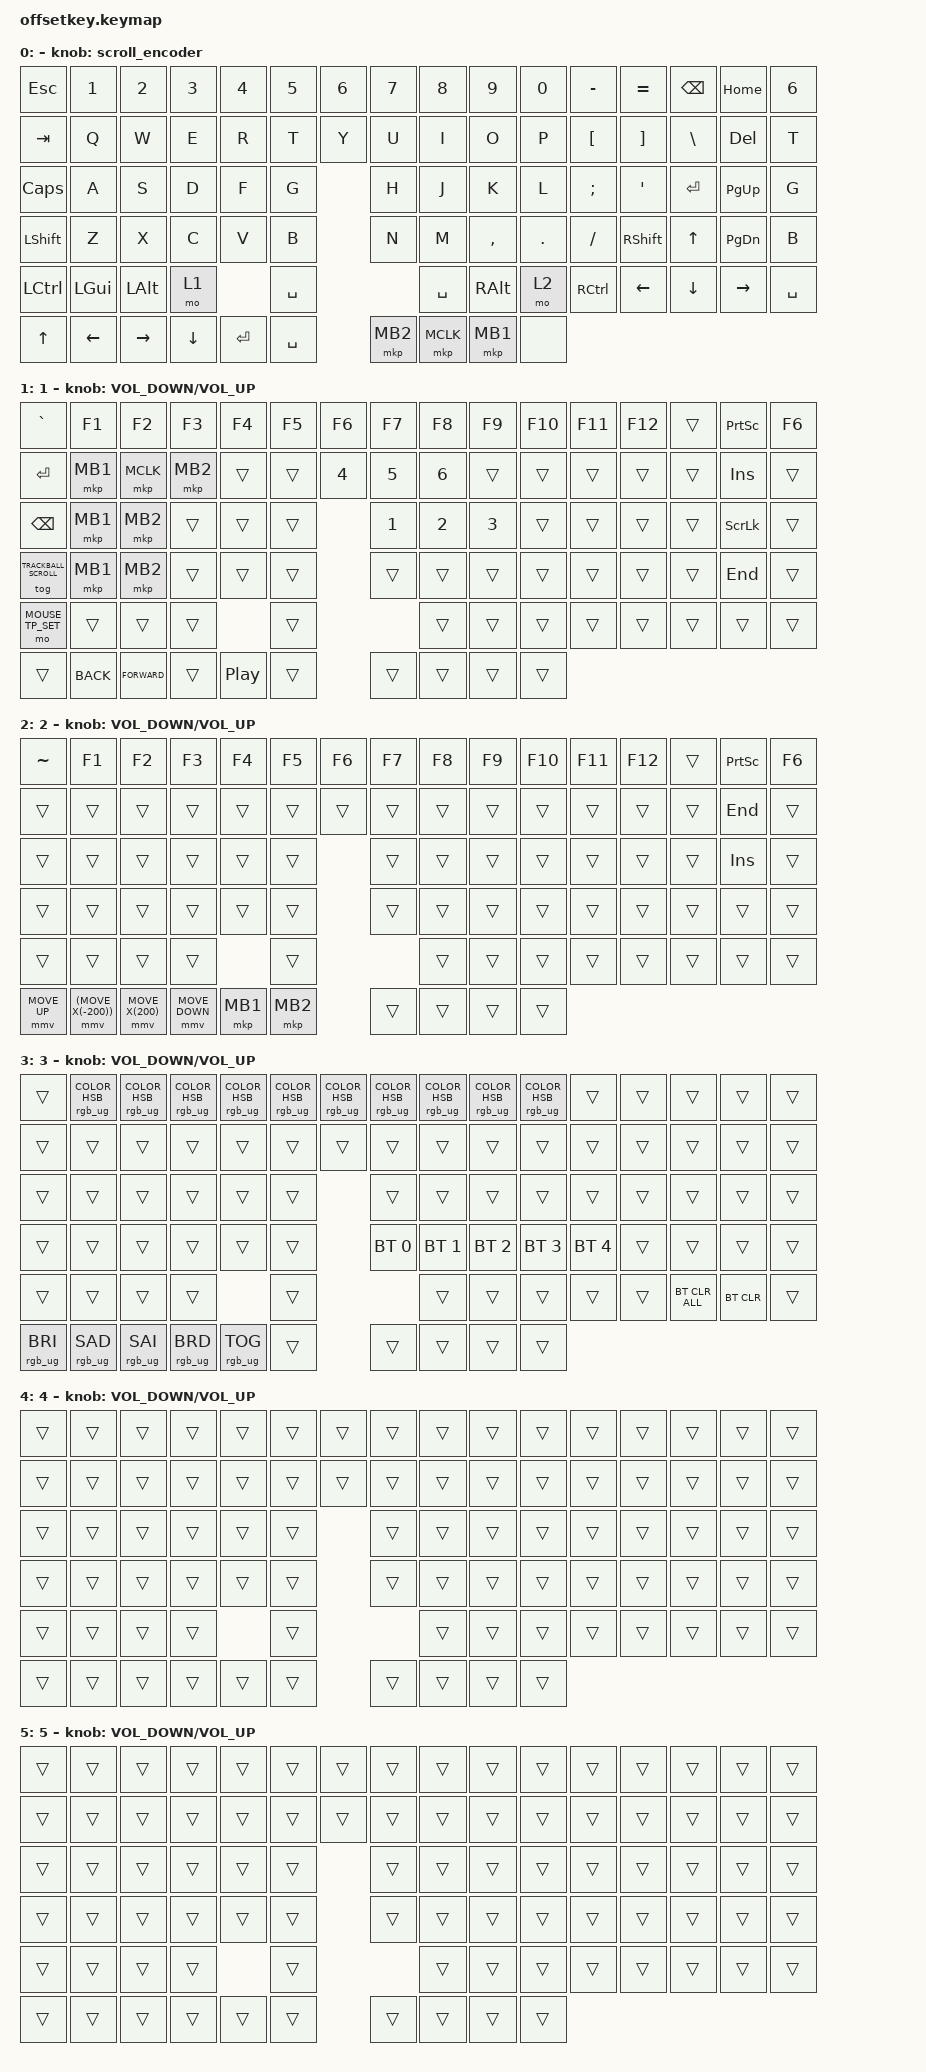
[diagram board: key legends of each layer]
#define ZMK_POINTING_DEFAULT_MOVE_VAL 1200  // 600
#define ZMK_POINTING_DEFAULT_SCRL_VAL 20    // 10
#define BASE 0
#define LOWER 1
#define MOUSE_KEYS 2
#define MOUSE_TP 3
#define MOUSE_TP_SET 4
#define TRACKBALL_SCROLL 5

#include <input/processors.dtsi>
#include <zephyr/dt-bindings/input/input-event-codes.h>
#include <behaviors/toggle_io.dtsi>
#include <behaviors/on_io.dtsi>
#include <behaviors/off_io.dtsi>
#include <behaviors.dtsi>
#include <dt-bindings/zmk/bt.h>
#include <dt-bindings/zmk/keys.h>
#include <dt-bindings/zmk/pointing.h>
#include <dt-bindings/zmk/rgb.h>

&mmv_input_listener {
    input-processors = <&zip_xy_scaler 2 1>;

    trackball_scroller_rule {
        layers = <MOUSE_KEYS>;
        input-processors =
            <&zip_xy_transform 3>,
            <&zip_xy_scaler 1 60>,
            <&zip_xy_to_scroll_mapper>;
    };
};

&msc_input_listener { input-processors = <&zip_scroll_scaler 2 1>; };

&msc {
    acceleration-exponent = <0>;      // 0
    time-to-max-speed-ms = <0>;       // 300
    delay-ms = <0>;                   // 0
};

&mmv {
    time-to-max-speed-ms = <400>;
    acceleration-exponent = <1>;
};

/ {
    scroll_encoder: scroll_encoder {
        compatible = "zmk,behavior-sensor-rotate";
        #sensor-binding-cells = <0>;
        bindings = <&msc SCRL_UP>, <&msc SCRL_DOWN>;

        tap-ms = <100>;
    };

    behaviors {
        ltq: ltq {
            compatible = "zmk,behavior-hold-tap";
            label = "LTQ";
            bindings = <&mo>, <&kp>;

            #binding-cells = <2>;
            tapping-term-ms = <200>;
            quick-tap-ms = <180>;
        };

        trackball_scroll: trackball_scroll {
            compatible = "zmk,behavior-input-two-axis-scroller";
            #binding-cells = <0>;

            // Adjust sensitivity here if scrolling is too fast/slow

            input-processors = <&zip_xy_scaler 1 1>;
        };
    };

    combos {
        compatible = "zmk,combos";

        flash {
            bindings = <&bootloader>;
            key-positions = <0 11>;
        };

        rgb {
            bindings = <&tog 3>;
            key-positions = <69 65>;
        };
    };

    keymap {
        compatible = "zmk,keymap";

        BASE {
            bindings = <
&kp ESC       &kp N1          &kp N2           &kp N3          &kp N4     &kp N5     &kp N6      &kp N7    &kp N8     &kp N9         &kp N0   &kp MINUS  &kp EQUAL        &kp BSPC      &kp HOME                &kp NUMBER_6
&kp TAB       &kp Q           &kp W            &kp E           &kp R      &kp T                  &kp Y     &kp U      &kp I          &kp O    &kp P      &kp LBKT         &kp RBKT      &kp BSLH       &kp DEL  &kp T
&kp CAPS      &kp A           &kp S            &kp D           &kp F      &kp G                  &kp H     &kp J      &kp K          &kp L    &kp SEMI   &kp APOS         &kp ENTER     &kp PG_UP               &kp G
&kp LSHFT     &kp Z           &kp X            &kp C           &kp V      &kp B                  &kp N     &kp M      &kp COMMA      &kp DOT  &kp FSLH   &kp RIGHT_SHIFT  &kp UP_ARROW  &kp PAGE_DOWN           &kp B
&kp LCTRL     &kp LEFT_GUI    &kp LEFT_ALT     &mo 1                      &kp SPACE                        &kp SPACE  &kp RIGHT_ALT  &mo 2    &kp RCTRL  &kp LEFT         &kp DOWN      &kp RIGHT               &kp SPACE
&kp UP_ARROW  &kp LEFT_ARROW  &kp RIGHT_ARROW  &kp DOWN_ARROW  &kp ENTER  &kp SPACE              &mkp MB2  &mkp MCLK  &mkp MB1       &none
            >;

            label = " ";
            sensor-bindings = <&scroll_encoder>;
        };

        layer_1 {
            bindings = <
&kp GRAVE      &kp F1      &kp F2         &kp F3  &kp F4  &kp F5  &kp F6      &kp F7        &kp F8        &kp F9        &kp F10  &kp F11  &kp F12  &trans  &kp PRINTSCREEN              &kp F6
&kp ENTER      &mkp MB1    &mkp MCLK      &mkp MB2       &trans  &trans              &kp NUMBER_4  &kp NUMBER_5  &kp NUMBER_6  &trans   &trans   &trans   &trans  &trans           &kp INSERT  &trans
&kp BACKSPACE  &mkp MB1    &mkp MB2       &trans  &trans  &trans              &kp NUMBER_1  &kp NUMBER_2  &kp NUMBER_3  &trans   &trans   &trans   &trans  &kp SCROLLLOCK               &trans
&tog TRACKBALL_SCROLL  &mkp MB1    &mkp MB2       &trans  &trans  &trans              &trans        &trans        &trans        &trans   &trans   &trans   &trans  &kp END                      &trans
&mo MOUSE_TP_SET  &trans      &trans         &trans          &trans                            &trans        &trans        &trans   &trans   &trans   &trans  &trans                       &trans
&trans         &kp K_BACK  &kp K_FORWARD  &trans  &kp C_PLAY_PAUSE  &trans              &trans        &trans        &trans        &trans
            >;

            label = "1";
            sensor-bindings = <&inc_dec_kp C_VOLUME_DOWN C_VOLUME_UP>;
        };

        layer_2 {
            bindings = <
&kp TILDE     &kp F1               &kp F2            &kp F3          &kp F4    &kp F5    &kp F6      &kp F7        &kp F8        &kp F9        &kp F10       &kp F11       &kp F12  &trans          &kp PRINTSCREEN      &kp F6
&trans        &trans               &trans            &trans          &trans    &trans                &trans        &trans        &trans        &trans        &trans        &trans   &trans          &trans      &kp END  &trans
&trans        &trans               &trans            &trans          &trans    &trans                &trans        &trans        &trans        &trans        &trans        &trans   &trans          &kp INSERT           &trans
&trans        &trans               &trans            &trans          &trans    &trans                &trans        &trans        &trans        &trans        &trans        &trans   &trans          &trans               &trans
&trans        &trans               &trans            &trans                    &trans                              &trans        &trans        &trans        &trans        &trans   &trans        &trans            &trans
&mmv MOVE_UP  &mmv (MOVE_X(-200))  &mmv MOVE_X(200)  &mmv MOVE_DOWN  &mkp MB1  &mkp MB2              &trans        &trans        &trans        &trans
            >;

            label = "2";
            sensor-bindings = <&inc_dec_kp C_VOLUME_DOWN C_VOLUME_UP>;
        };

        layer_3 {
            bindings = <
&trans           &rgb_ug RGB_COLOR_HSB(0,100,30)  &rgb_ug RGB_COLOR_HSB(30,100,30)  &rgb_ug RGB_COLOR_HSB(60,100,30)  &rgb_ug RGB_COLOR_HSB(120,100,30)  &rgb_ug RGB_COLOR_HSB(180,100,30)  &rgb_ug RGB_COLOR_HSB(210,100,30)      &rgb_ug RGB_COLOR_HSB(240,100,30)  &rgb_ug RGB_COLOR_HSB(270,100,30)  &rgb_ug RGB_COLOR_HSB(300,100,30)  &rgb_ug RGB_COLOR_HSB(330,100,30)  &trans  &trans  &trans  &trans          &trans
&trans           &trans                           &trans                            &trans                            &trans                             &trans                                                                    &trans                             &trans                             &trans                             &trans                             &trans  &trans  &trans  &trans  &trans  &trans
&trans           &trans                           &trans                            &trans                            &trans                             &trans                                                                    &trans                             &trans                             &trans                             &trans                             &trans  &trans  &trans  &trans          &trans
&trans           &trans                           &trans                            &trans                            &trans                             &trans                                                                    &bt BT_SEL 0                       &bt BT_SEL 1                       &bt BT_SEL 2                       &bt BT_SEL 3                       &bt BT_SEL 4  &trans  &trans  &trans          &trans
&trans           &trans                           &trans                            &trans                                                               &trans                                                                                                       &trans                             &trans                             &trans                             &trans  &trans  &bt BT_CLR_ALL  &bt BT_CLR          &trans
&rgb_ug RGB_BRI  &rgb_ug RGB_SAD                  &rgb_ug RGB_SAI                   &rgb_ug RGB_BRD                   &rgb_ug RGB_TOG                    &trans                                                                    &trans                             &trans                             &trans                             &trans
            >;

            label = "3";
            sensor-bindings = <&inc_dec_kp C_VOLUME_DOWN C_VOLUME_UP>;
        };

        layer_4 {
            bindings = <
&trans  &trans  &trans  &trans  &trans  &trans  &trans  &trans  &trans  &trans  &trans  &trans  &trans  &trans  &trans  &trans
&trans  &trans  &trans  &trans  &trans  &trans          &trans  &trans  &trans  &trans  &trans  &trans  &trans  &trans  &trans  &trans
&trans  &trans  &trans  &trans  &trans  &trans          &trans  &trans  &trans  &trans  &trans  &trans  &trans  &trans          &trans
&trans  &trans  &trans  &trans  &trans  &trans          &trans  &trans  &trans  &trans  &trans  &trans  &trans  &trans          &trans
&trans  &trans  &trans  &trans          &trans                          &trans  &trans  &trans  &trans  &trans  &trans  &trans          &trans
&trans  &trans  &trans  &trans  &trans  &trans          &trans  &trans  &trans  &trans
            >;

            label = "4";
            sensor-bindings = <&inc_dec_kp C_VOLUME_DOWN C_VOLUME_UP>;
        };

        layer_5 {
            bindings = <
&trans  &trans  &trans  &trans  &trans  &trans  &trans  &trans  &trans  &trans  &trans  &trans  &trans  &trans  &trans  &trans
&trans  &trans  &trans  &trans  &trans  &trans          &trans  &trans  &trans  &trans  &trans  &trans  &trans  &trans  &trans  &trans
&trans  &trans  &trans  &trans  &trans  &trans          &trans  &trans  &trans  &trans  &trans  &trans  &trans  &trans          &trans
&trans  &trans  &trans  &trans  &trans  &trans          &trans  &trans  &trans  &trans  &trans  &trans  &trans  &trans          &trans
&trans  &trans  &trans  &trans          &trans                          &trans  &trans  &trans  &trans  &trans  &trans  &trans          &trans
&trans  &trans  &trans  &trans  &trans  &trans          &trans  &trans  &trans  &trans
            >;

            label = "5";
            sensor-bindings = <&inc_dec_kp C_VOLUME_DOWN C_VOLUME_UP>;
        };
    };
};
